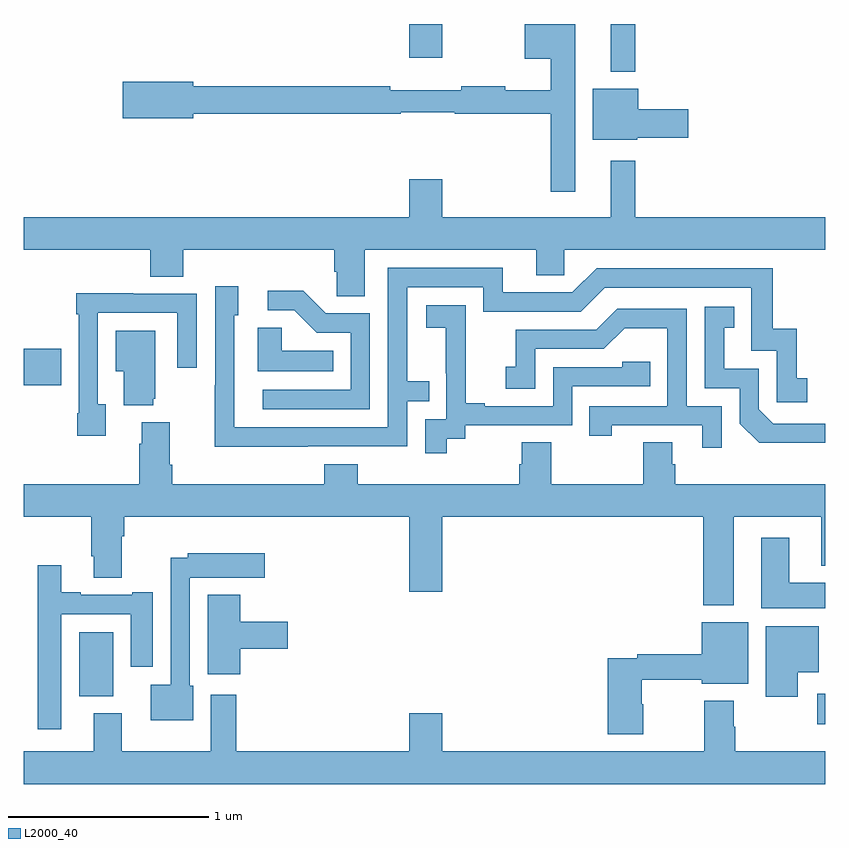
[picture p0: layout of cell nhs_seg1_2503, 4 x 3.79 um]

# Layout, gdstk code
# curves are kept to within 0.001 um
import gdstk
lib = gdstk.Library(unit=1e-6, precision=1e-09)
def R(c, l, rs):  # rectangles x0, y0, x1, y1
    for r in rs: c.add(gdstk.rectangle(r[:2], r[2:], *l))
def P(c, l, *ps):  # polygons
    for p in ps: c.add(gdstk.Polygon(p, *l))
L2000_40 = (2000, 40)

nhs_seg1_2503 = lib.new_cell('nhs_seg1_2503')
R(nhs_seg1_2503, L2000_40, [(250.959,542.705,251,542.857), (247.277,542.846,247.447,543.166), (247,544.397,247.189,544.58), (249.929,545.96,250.051,546.199), (248.924,546.03,249.088,546.199)])
P(nhs_seg1_2503, L2000_40, [(249.751,546.199),(249.5,546.199),(249.5,546.026),(249.63,546.026),(249.63,545.869),(249.404,545.869),(249.404,545.888),(249.184,545.888),(249.184,545.869),(248.828,545.869),(248.828,545.888),(247.846,545.888),(247.846,545.912),(247.494,545.912),(247.494,545.729),(247.846,545.729),(247.846,545.752),(248.881,545.752),(248.881,545.76),(249.151,545.76),(249.151,545.752),(249.63,545.752),(249.63,545.361),(249.751,545.361)],
  [(250.062,545.632),(250.315,545.632),(250.315,545.774),(250.066,545.774),(250.066,545.875),(249.839,545.875),(249.839,545.621),(250.062,545.621)],
  [(248.701,545.072),(249.557,545.072),(249.557,544.945),(249.696,544.945),(249.696,545.072),(251,545.072),(251,545.236),(250.051,545.236),(250.051,545.518),(249.929,545.518),(249.929,545.236),(249.088,545.236),(249.088,545.425),(248.924,545.425),(248.924,545.236),(247,545.236),(247,545.072),(247.631,545.072),(247.631,544.939),(247.796,544.939),(247.796,545.072),(248.549,545.072),(248.549,544.963),(248.562,544.963),(248.562,544.84),(248.701,544.84)],
  [(248.417,544.092),(248.913,544.092),(248.913,544.317),(249.023,544.317),(249.023,544.418),(248.913,544.418),(248.913,544.887),(249.294,544.887),(249.294,544.764),(249.78,544.764),(249.9,544.884),(250.629,544.884),(250.629,544.569),(250.758,544.569),(250.758,544.311),(250.909,544.311),(250.909,544.431),(250.856,544.431),(250.856,544.678),(250.738,544.678),(250.738,544.98),(249.858,544.98),(249.738,544.86),(249.391,544.86),(249.391,544.983),(248.817,544.983),(248.817,544.188),(248.052,544.188),(248.052,544.746),(248.071,544.746),(248.071,544.891),(247.956,544.891),(247.956,544.397),(247.954,544.397),(247.954,544.091)],
  [(248.727,544.755),(248.508,544.755),(248.395,544.868),(248.217,544.868),(248.217,544.77),(248.351,544.77),(248.462,544.659),(248.631,544.659),(248.631,544.374),(248.193,544.374),(248.193,544.278),(248.727,544.278)],
  [(247.411,544.302),(247.371,544.302),(247.371,544.758),(247.767,544.758),(247.767,544.485),(247.863,544.485),(247.863,544.854),(247.547,544.854),(247.547,544.856),(247.263,544.856),(247.263,544.751),(247.275,544.751),(247.275,544.258),(247.268,544.258),(247.268,544.146),(247.411,544.146)],
  [(249.112,544.129),(249.204,544.129),(249.204,544.197),(249.738,544.197),(249.738,544.392),(250.127,544.392),(250.127,544.515),(249.987,544.515),(249.987,544.488),(249.642,544.488),(249.642,544.293),(249.301,544.293),(249.301,544.306),(249.206,544.306),(249.206,544.589),(249.207,544.589),(249.207,544.795),(249.009,544.795),(249.009,544.685),(249.107,544.685),(249.107,544.457),(249.108,544.457),(249.108,544.227),(249.003,544.227),(249.003,544.059),(249.112,544.059)],
  [(251,544.206),(250.74,544.206),(250.668,544.278),(250.668,544.479),(250.495,544.479),(250.495,544.683),(250.544,544.683),(250.544,544.789),(250.398,544.789),(250.398,544.383),(250.572,544.383),(250.572,544.206),(250.67,544.109),(251,544.109)],
  [(250.482,544.293),(250.308,544.293),(250.308,544.779),(249.962,544.779),(249.857,544.674),(249.454,544.674),(249.454,544.489),(249.405,544.489),(249.405,544.38),(249.552,544.38),(249.552,544.578),(249.894,544.578),(249.998,544.682),(250.212,544.682),(250.212,544.293),(249.823,544.293),(249.823,544.146),(249.934,544.146),(249.934,544.197),(250.385,544.197),(250.385,544.086),(250.482,544.086)],
  [(248.546,544.57),(248.289,544.57),(248.289,544.685),(248.168,544.685),(248.168,544.466),(248.546,544.466)],
  [(247.646,544.329),(247.657,544.329),(247.657,544.669),(247.46,544.669),(247.46,544.466),(247.499,544.466),(247.499,544.298),(247.646,544.298)],
  [(250.543,543.74),(250.979,543.74),(250.979,543.497),(251,543.497),(251,543.904),(250.25,543.904),(250.25,544.002),(250.237,544.002),(250.237,544.112),(250.09,544.112),(250.09,543.904),(249.633,543.904),(249.633,544.112),(249.485,544.112),(249.485,544.002),(249.473,544.002),(249.473,543.904),(248.666,543.904),(248.666,544.003),(248.501,544.003),(248.501,543.904),(247.742,543.904),(247.742,544),(247.729,544),(247.729,544.213),(247.589,544.213),(247.589,544.106),(247.577,544.106),(247.577,543.904),(247,543.904),(247,543.74),(247.337,543.74),(247.337,543.544),(247.349,543.544),(247.349,543.436),(247.489,543.436),(247.489,543.644),(247.502,543.644),(247.502,543.74),(248.924,543.74),(248.924,543.366),(249.088,543.366),(249.088,543.74),(250.391,543.74),(250.391,543.299),(250.543,543.299)],
  [(251,543.412),(250.819,543.412),(250.819,543.637),(250.679,543.637),(250.679,543.284),(251,543.284)],
  [(247.846,542.898),(247.83,542.898),(247.83,543.438),(247.927,543.438),(247.927,543.437),(248.203,543.437),(248.203,543.559),(247.818,543.559),(247.818,543.536),(247.734,543.536),(247.734,542.902),(247.634,542.902),(247.634,542.726),(247.846,542.726)],
  [(247.188,543.255),(247.535,543.255),(247.535,542.994),(247.645,542.994),(247.645,543.364),(247.541,543.364),(247.541,543.351),(247.285,543.351),(247.285,543.364),(247.189,543.364),(247.189,543.499),(247.072,543.499),(247.072,542.682),(247.188,542.682)],
  [(248.081,543.083),(248.317,543.083),(248.317,543.217),(248.081,543.217),(248.081,543.352),(247.919,543.352),(247.919,542.955),(248.081,542.955)],
  [(250.092,542.805),(250.084,542.805),(250.084,542.928),(250.382,542.928),(250.382,542.909),(250.615,542.909),(250.615,543.214),(250.382,543.214),(250.382,543.056),(250.06,543.056),(250.06,543.036),(249.914,543.036),(249.914,542.657),(250.092,542.657)],
  [(250.861,542.966),(250.966,542.966),(250.966,543.196),(250.703,543.196),(250.703,542.844),(250.861,542.844)],
  [(251,542.572),(250.551,542.572),(250.551,542.693),(250.543,542.693),(250.543,542.824),(250.396,542.824),(250.396,542.572),(249.088,542.572),(249.088,542.761),(248.924,542.761),(248.924,542.572),(248.06,542.572),(248.06,542.854),(247.934,542.854),(247.934,542.572),(247.489,542.572),(247.489,542.761),(247.349,542.761),(247.349,542.572),(247,542.572),(247,542.408),(251,542.408)])

lib.write_gds('nhs_seg1_2503.gds')
